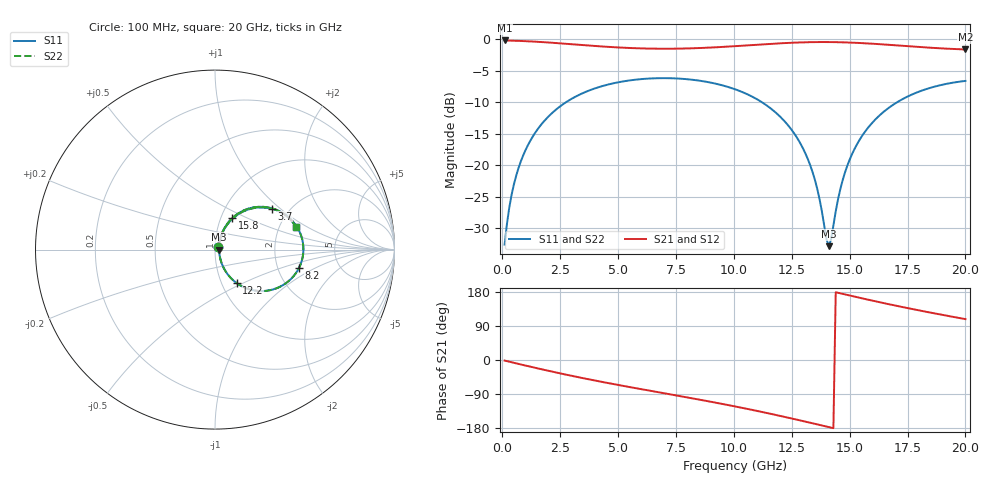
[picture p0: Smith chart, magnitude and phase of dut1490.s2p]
! Touchstone file exported from HFSS 2026.1.0
!  File:  C:/ffzhzh/LocalFiles/Ansys_Project_Files/temp_train_TSV_RDL_1490_1783364054_4416.aedt
!  Generated:  03:08:41 AM Jul  7, 2026
!  Design:  TSV_RDL
!  Project:  temp_train_TSV_RDL_1490_1783364054_4416
! Variables:
!  h_bsmrdl = 3.59um
!  h_ox = 20um
!  h_rdl = 5um
!  h_sub = 99.6um
!  h_tmrdl = 3.81um
!  h_tsv = 99.6um
!  h_via = 3um
!  l_bsmrdl = 348.33um
!  l_sub = 4040.56um
!  l_tmrdl = 618.96um
!  m_sub = 200um
!  pitch = 43.87um
!  r_tsv = 6.83um
!  s_tmrdl = 10um
!  w_bsmrdl = 18.63um
!  w_sub = 500um
!  w_tmrdl = 21.28um
!  x_tsv_center1 = 629.6um
!  x_tsv_center2 = 996.56um
!  x_tsv_center3 = 1636.8um
!  x_tsv_center4 = 2003.76um
!  x_tsv_center5 = 2644um
!  x_tsv_center6 = 3010.96um
# GHz S MA R 50.000000
! Terminal data exported
! Port[1] = TM_RDL1_1_T1
! Port[2] = TM_RDL5_1_T1
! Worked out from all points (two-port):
!   200 points, 100 MHz to 20 GHz, reference 50 ohm
!   highest |S21| = -0.16 dB at 100 MHz (marker M1); lowest = -1.6 dB at 20 GHz (marker M2)
!   |S21| within 3 dB of the highest: start of sweep to end of sweep
!   lowest |S11| = -32.8 dB at 14.1 GHz (marker M3), VSWR 1.05, Z = 52.3 + j0.0342 ohm
!   |S11| at or under -10 dB: start of sweep to 2.743 GHz; 11.22 GHz to 17.04 GHz (5.819 GHz wide, 41.2 % of centre)
!   |S22| runs from -32.9 to -6.2 dB; largest |S21 - S12| = 2.7e-14
!   S11 on the Smith chart (normalised r, x): 100 MHz: 1.04, +0.03; 3.7 GHz: 1.63, +0.88; 8.2 GHz: 2.62, -0.70; 12.2 GHz: 1.18, -0.46; 15.8 GHz: 1.13, +0.41; 20 GHz: 2.45, +0.80
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0.1  0.02345 36.0  0.9813 -1.5  0.9813 -1.5  0.02345 36.0
! Gamma 0 0 0 0
! Port Impedance 50 0 50 0
0.3  0.04595 59.5  0.979 -4.5  0.979 -4.5  0.04595 59.5
0.5  0.0704 65.1  0.9766 -7.4  0.9766 -7.4  0.0704 65.1
1.1  0.1437 64.8  0.967 -16.1  0.967 -16.1  0.1437 64.8
2.1  0.2552 54.6  0.9426 -30.0  0.9426 -30.0  0.2552 54.6
3.5  0.3761 38.2  0.9009 -48.1  0.9009 -48.1  0.3761 38.2
3.7  0.3897 35.8  0.8952 -50.5  0.8952 -50.5  0.3897 35.8
6.8  0.4923 2.2  0.8437 -85.7  0.8437 -85.7  0.4923 2.2
8.2  0.4785 -12.5  0.8502 -101.1  0.8502 -101.1  0.4785 -12.5
10.1  0.399 -33.3  0.8851 -123.1  0.8851 -123.1  0.399 -33.3
12.2  0.2229 -57.0  0.9355 -150.2  0.9355 -150.2  0.2229 -57.1
12.9  0.1461 -63.4  0.947 -159.9  0.947 -159.9  0.1461 -63.4
13.4  0.08831 -64.3  0.9519 -167.0  0.9519 -167.0  0.0883 -64.3
13.7  0.05403 -58.4  0.9532 -171.3  0.9532 -171.3  0.054 -58.5
14.1  0.02279 0.8  0.953 -177.0  0.953 -177.0  0.02268 0.8
14.5  0.05374 60.4  0.9506 177.3  0.9506 177.3  0.05367 60.5
14.8  0.08773 66.3  0.9473 173.0  0.9473 173.0  0.08768 66.4
15.2  0.1335 66.1  0.9413 167.4  0.9413 167.4  0.1335 66.1
15.8  0.1993 61.3  0.9291 159.1  0.9291 159.1  0.1993 61.4
16.7  0.2871 51.7  0.9061 147.2  0.9061 147.2  0.287 51.7
18.2  0.397 35.0  0.8659 128.5  0.8659 128.5  0.397 35.0
20  0.4681 15.8  0.8326 107.9  0.8326 107.9  0.468 15.8
